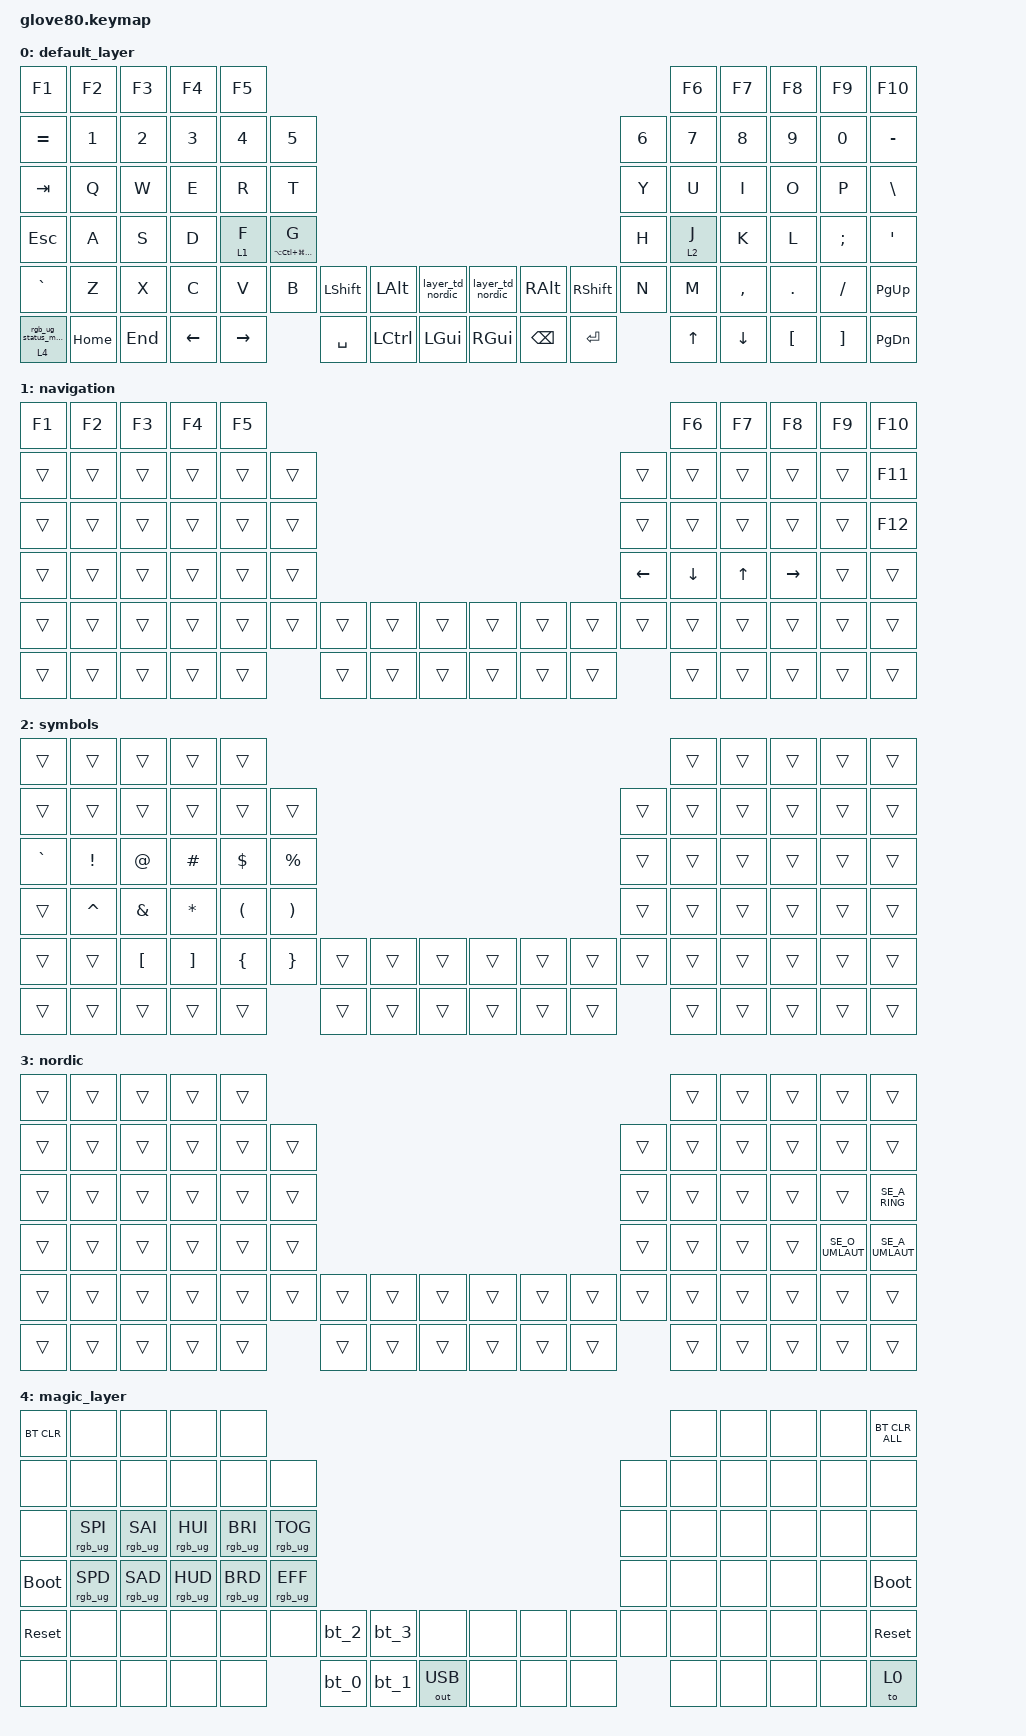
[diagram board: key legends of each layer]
/*
 * Copyright (c) 2020 The ZMK Contributors
 *
 * SPDX-License-Identifier: MIT
 */

#include <behaviors.dtsi>
#include <dt-bindings/zmk/bt.h>
#include <dt-bindings/zmk/keys.h>
#include <dt-bindings/zmk/outputs.h>
#include <dt-bindings/zmk/rgb.h>
#include "keys_se_finland_sweden.h"

#define HYPER LC(LS(LG(LALT)))

// layers

#define DEFAULT 0
#define LOWER 1
#define MAGIC 2
#define FACTORY_TEST 3

/ {
    behaviors {
        // For the "layer" key, it'd nice to be able to use it as either a shift or a toggle.
        // Configure it as a tap dance, so the first tap (or hold) is a &mo and the second tap is a &to

        layer_td_nordic: tap_dance_0 {
            compatible = "zmk,behavior-tap-dance";
            label = "LAYER_NORDIC_TAP_DANCE";
            #binding-cells = <0>;
            tapping-term-ms = <200>;
            bindings = <&mo 3>, <&to 3>;
        };

        magic: magic_hold_tap {
            compatible = "zmk,behavior-hold-tap";
            label = "MAGIC_HOLD_TAP";
            #binding-cells = <2>;
            flavor = "tap-preferred";
            tapping-term-ms = <200>;
            bindings = <&mo>, <&rgb_ug_status_macro>;
        };

        hml: homerow_mods_left {
            compatible = "zmk,behavior-hold-tap";
            label = "HOMEROW_MODS_LEFT_HAND";
            bindings = <&kp>, <&kp>;

            #binding-cells = <2>;
            tapping-term-ms = <280>;
            hold-trigger-key-positions = <16 5 6 7 8 8 9 17 18 19 20 21 29 30 31 32 33 41 42 43 44 45 59 60 61 62 63 75 76 77 78 79 16 17 18 19 28 29 30 31 40 41 42 43 56 57 58 59 60 61 72 73 74 75 76 77 55>;
            flavor = "balanced";
            quick-tap-ms = <175>;
            require-prior-idle-ms = <150>;
            hold-trigger-on-release;
        };
    };

    macros {
        rgb_ug_status_macro: rgb_ug_status_macro_0 {
            label = "RGB_UG_STATUS";
            compatible = "zmk,behavior-macro";
            #binding-cells = <0>;
            bindings = <&rgb_ug RGB_STATUS>;
        };

        bt_0: bt_profile_macro_0 {
            label = "BT_0";
            compatible = "zmk,behavior-macro";
            #binding-cells = <0>;
            bindings = <&out OUT_BLE &bt BT_SEL 0>;
        };

        bt_1: bt_profile_macro_1 {
            label = "BT_1";
            compatible = "zmk,behavior-macro";
            #binding-cells = <0>;
            bindings = <&out OUT_BLE &bt BT_SEL 1>;
        };

        bt_2: bt_profile_macro_2 {
            label = "BT_2";
            compatible = "zmk,behavior-macro";
            #binding-cells = <0>;
            bindings = <&out OUT_BLE &bt BT_SEL 2>;
        };

        bt_3: bt_profile_macro_3 {
            label = "BT_3";
            compatible = "zmk,behavior-macro";
            #binding-cells = <0>;
            bindings = <&out OUT_BLE &bt BT_SEL 3>;
        };
    };

    keymap {
        compatible = "zmk,keymap";

        default_layer {
            // ---------------------------------------------------------------------------------------------------------------------------------
            // |  F1   |  F2 |  F3 |  F4  |  F5  |                                                               |  F6   |  F7   |  F8  |   F9  |  F10 |
            // |  =    |  1  |  2  |  3   |  4   |  5   |                                                 |  6   |   7   |   8   |  9   |   0   |   -  |
            // |  TAB  |  Q  |  W  |  E   |  R   |  T   |                                                 |  Y   |   U   |   I   |  O   |   P   |   \  |
            // |  ESC  |  A  |  S  |  D   |  F   |  G   |                                                 |  H   |   J   |   K   |  L   |   ;   |   '  |
            // |   `   |  Z  |  X  |  C   |  V   |  B   | LSHFT | LCTRL | LOWER | | LGUI  | RCTRL | RSHFT |  N   |   M   |   ,   |  .   |   /   | PGUP |
            // | MAGIC | HOME| END | LEFT | RIGHT|      | BSPC  | DEL   | LALT  | | RALT  | RET   | SPACE |      |  UP   | DOWN  |  [   |   ]   | PGDN |

            bindings = <
&kp F1      &kp F2    &kp F3   &kp F4    &kp F5                                                                                                                                  &kp F6   &kp F7     &kp F8    &kp F9    &kp F10
&kp EQUAL   &kp N1    &kp N2   &kp N3    &kp N4     &kp N5                                                                                                               &kp N6  &kp N7   &kp N8     &kp N9    &kp N0    &kp MINUS
&kp TAB     &kp Q     &kp W    &kp E     &kp R      &kp T                                                                                                                &kp Y   &kp U    &kp I      &kp O     &kp P     &kp BSLH
&kp ESC     &kp A     &kp S    &kp D     &lt 1 F    &hml LA(LC(LG(LS(LEFT_GUI)))) G                                                                                      &kp H   &lt 2 J  &kp K      &kp L     &kp SEMI  &kp SQT
&kp GRAVE   &kp Z     &kp X    &kp C     &kp V      &kp B                            &kp LSHFT  &kp LALT   &layer_td_nordic  &layer_td_nordic  &kp RIGHT_ALT  &kp RSHFT  &kp N   &kp M    &kp COMMA  &kp DOT   &kp FSLH  &kp PG_UP
&magic 4 0  &kp HOME  &kp END  &kp LEFT  &kp RIGHT                                   &kp SPACE  &kp LCTRL  &kp LGUI          &kp RGUI          &kp BACKSPACE  &kp ENTER          &kp UP   &kp DOWN   &kp LBKT  &kp RBKT  &kp PG_DN
            >;
        };

        navigation {
            bindings = <
&kp F1  &kp F2  &kp F3  &kp F4  &kp F5                                                                    &kp F6    &kp F7  &kp F8     &kp F9  &kp F10
&trans  &trans  &trans  &trans  &trans  &trans                                                  &trans    &trans    &trans  &trans     &trans  &kp F11
&trans  &trans  &trans  &trans  &trans  &trans                                                  &trans    &trans    &trans  &trans     &trans  &kp F12
&trans  &trans  &trans  &trans  &trans  &trans                                                  &kp LEFT  &kp DOWN  &kp UP  &kp RIGHT  &trans  &trans
&trans  &trans  &trans  &trans  &trans  &trans  &trans  &trans  &trans  &trans  &trans  &trans  &trans    &trans    &trans  &trans     &trans  &trans
&trans  &trans  &trans  &trans  &trans          &trans  &trans  &trans  &trans  &trans  &trans            &trans    &trans  &trans     &trans  &trans
            >;
        };

        symbols {
            bindings = <
&trans     &trans     &trans    &trans    &trans                                                                       &trans  &trans  &trans  &trans  &trans
&trans     &trans     &trans    &trans    &trans    &trans                                                     &trans  &trans  &trans  &trans  &trans  &trans
&kp GRAVE  &kp EXCL   &kp AT    &kp HASH  &kp DLLR  &kp PRCNT                                                  &trans  &trans  &trans  &trans  &trans  &trans
&trans     &kp CARET  &kp AMPS  &kp STAR  &kp LPAR  &kp RPAR                                                   &trans  &trans  &trans  &trans  &trans  &trans
&trans     &trans     &kp LBKT  &kp RBKT  &kp LBRC  &kp RBRC   &trans  &trans  &trans  &trans  &trans  &trans  &trans  &trans  &trans  &trans  &trans  &trans
&trans     &trans     &trans    &trans    &trans               &trans  &trans  &trans  &trans  &trans  &trans          &trans  &trans  &trans  &trans  &trans
            >;
        };

        nordic {
            bindings = <
&trans  &trans  &trans  &trans  &trans                                                                  &trans  &trans  &trans  &trans           &trans
&trans  &trans  &trans  &trans  &trans  &trans                                                  &trans  &trans  &trans  &trans  &trans           &trans
&trans  &trans  &trans  &trans  &trans  &trans                                                  &trans  &trans  &trans  &trans  &trans           &kp SE_A_RING
&trans  &trans  &trans  &trans  &trans  &trans                                                  &trans  &trans  &trans  &trans  &kp SE_O_UMLAUT  &kp SE_A_UMLAUT
&trans  &trans  &trans  &trans  &trans  &trans  &trans  &trans  &trans  &trans  &trans  &trans  &trans  &trans  &trans  &trans  &trans           &trans
&trans  &trans  &trans  &trans  &trans          &trans  &trans  &trans  &trans  &trans  &trans          &trans  &trans  &trans  &trans           &trans
            >;
        };

        magic_layer {
            bindings = <
&bt BT_CLR   &none            &none            &none            &none                                                                                     &none  &none  &none  &none  &bt BT_CLR_ALL
&none        &none            &none            &none            &none            &none                                                             &none  &none  &none  &none  &none  &none
&none        &rgb_ug RGB_SPI  &rgb_ug RGB_SAI  &rgb_ug RGB_HUI  &rgb_ug RGB_BRI  &rgb_ug RGB_TOG                                                   &none  &none  &none  &none  &none  &none
&bootloader  &rgb_ug RGB_SPD  &rgb_ug RGB_SAD  &rgb_ug RGB_HUD  &rgb_ug RGB_BRD  &rgb_ug RGB_EFF                                                   &none  &none  &none  &none  &none  &bootloader
&sys_reset   &none            &none            &none            &none            &none            &bt_2  &bt_3  &none         &none  &none  &none  &none  &none  &none  &none  &none  &sys_reset
&none        &none            &none            &none            &none                             &bt_0  &bt_1  &out OUT_USB  &none  &none  &none         &none  &none  &none  &none  &to 0
            >;
        };
    };
};
